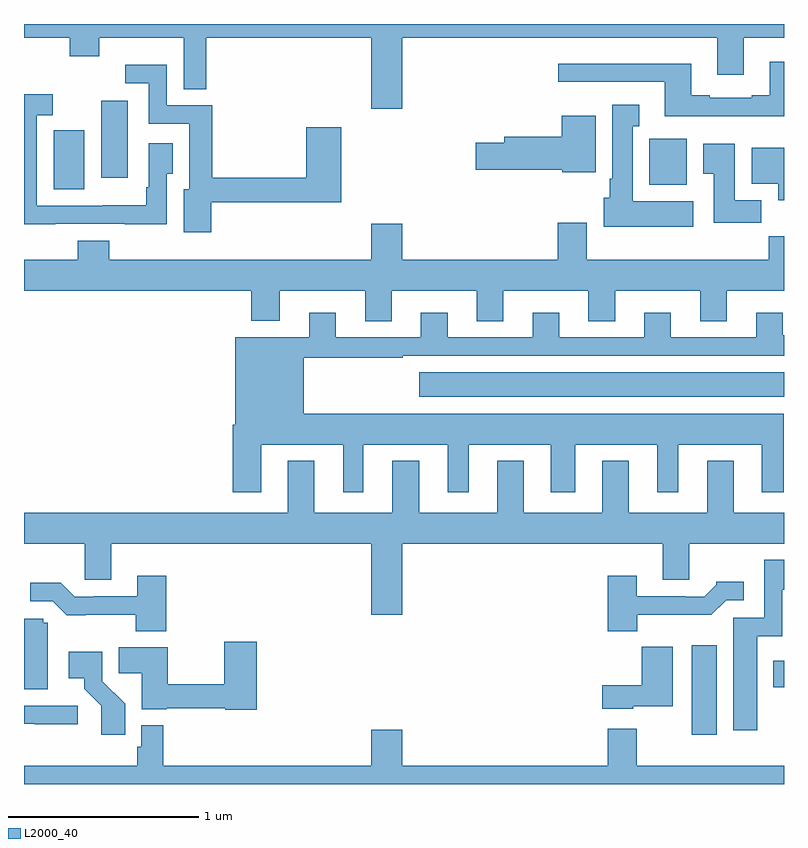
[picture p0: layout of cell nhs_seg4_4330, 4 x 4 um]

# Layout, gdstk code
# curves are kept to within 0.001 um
import gdstk
lib = gdstk.Library(unit=1e-6, precision=1e-09)
def R(c, l, rs):  # rectangles x0, y0, x1, y1
    for r in rs: c.add(gdstk.rectangle(r[:2], r[2:], *l))
def P(c, l, *ps):  # polygons
    for p in ps: c.add(gdstk.Polygon(p, *l))
L2000_40 = (2000, 40)

nhs_seg4_4330 = lib.new_cell('nhs_seg4_4330')
R(nhs_seg4_4330, L2000_40, [(346.514,785.16,346.645,785.629), (346.943,785.408,347,785.548), (345.081,786.938,347,787.066), (343.157,788.029,343.318,788.34), (346.292,788.054,346.489,788.296), (343.406,788.091,343.546,788.497)])
P(nhs_seg4_4330, L2000_40, [(344.992,788.828),(346.649,788.828),(346.649,788.634),(346.789,788.634),(346.789,788.828),(347,788.828),(347,788.9),(343,788.9),(343,788.828),(343.24,788.828),(343.24,788.729),(343.395,788.729),(343.395,788.828),(343.841,788.828),(343.841,788.557),(343.96,788.557),(343.96,788.828),(344.828,788.828),(344.828,788.454),(344.992,788.454)],
  [(347,788.701),(346.925,788.701),(346.925,788.524),(346.829,788.524),(346.829,788.511),(346.609,788.511),(346.609,788.524),(346.513,788.524),(346.513,788.692),(345.813,788.692),(345.813,788.595),(346.373,788.595),(346.373,788.414),(347,788.414)],
  [(343.985,787.962),(344.669,787.962),(344.669,788.356),(344.486,788.356),(344.486,788.09),(343.99,788.09),(343.99,788.472),(343.752,788.472),(343.752,788.686),(343.533,788.686),(343.533,788.589),(343.656,788.589),(343.656,788.376),(343.871,788.376),(343.871,788.031),(343.841,788.031),(343.841,787.803),(343.985,787.803)],
  [(343.165,787.848),(343.531,787.848),(343.531,787.847),(343.752,787.847),(343.752,788.113),(343.783,788.113),(343.783,788.272),(343.656,788.272),(343.656,788.041),(343.644,788.041),(343.644,787.945),(343.414,787.945),(343.414,787.944),(343.068,787.944),(343.068,788.421),(343.15,788.421),(343.15,788.53),(343,788.53),(343,787.847),(343.165,787.847)],
  [(346.522,787.966),(346.204,787.966),(346.204,788.363),(346.237,788.363),(346.237,788.476),(346.097,788.476),(346.097,788.086),(346.082,788.086),(346.082,787.986),(346.052,787.986),(346.052,787.832),(346.522,787.832)],
  [(346.009,788.416),(345.83,788.416),(345.83,788.306),(345.527,788.306),(345.527,788.276),(345.378,788.276),(345.378,788.134),(345.834,788.134),(345.834,788.12),(346.009,788.12)],
  [(346.88,787.972),(346.741,787.972),(346.741,788.269),(346.574,788.269),(346.574,788.113),(346.631,788.113),(346.631,787.854),(346.88,787.854)],
  [(347,788.248),(346.829,788.248),(346.829,788.06),(346.97,788.06),(346.97,787.973),(347,787.973)],
  [(344.935,787.496),(345.383,787.496),(345.383,787.336),(345.523,787.336),(345.523,787.496),(345.971,787.496),(345.971,787.336),(346.111,787.336),(346.111,787.496),(346.559,787.496),(346.559,787.336),(346.699,787.336),(346.699,787.496),(347,787.496),(347,787.784),(346.921,787.784),(346.921,787.66),(345.961,787.66),(345.961,787.855),(345.809,787.855),(345.809,787.66),(344.992,787.66),(344.992,787.849),(344.828,787.849),(344.828,787.66),(343.448,787.66),(343.448,787.759),(343.283,787.759),(343.283,787.66),(343,787.66),(343,787.496),(344.195,787.496),(344.195,787.337),(344.347,787.337),(344.347,787.496),(344.795,787.496),(344.795,787.336),(344.935,787.336)],
  [(344.248,786.686),(344.681,786.686),(344.681,786.435),(344.785,786.435),(344.785,786.686),(345.23,786.686),(345.23,786.435),(345.34,786.435),(345.34,786.686),(345.773,786.686),(345.773,786.435),(345.901,786.435),(345.901,786.686),(346.334,786.686),(346.334,786.435),(346.444,786.435),(346.444,786.686),(346.883,786.686),(346.883,786.435),(346.999,786.435),(346.999,786.85),(344.473,786.85),(344.473,787.143),(344.993,787.143),(344.993,787.155),(347,787.155),(347,787.263),(346.993,787.263),(346.993,787.381),(346.853,787.381),(346.853,787.251),(346.405,787.251),(346.405,787.381),(346.265,787.381),(346.265,787.251),(345.817,787.251),(345.817,787.381),(345.677,787.381),(345.677,787.251),(345.229,787.251),(345.229,787.381),(345.089,787.381),(345.089,787.251),(344.641,787.251),(344.641,787.381),(344.501,787.381),(344.501,787.252),(344.111,787.252),(344.111,786.79),(344.099,786.79),(344.099,786.435),(344.248,786.435)],
  [(346.595,786.601),(346.595,786.328),(346.183,786.328),(346.183,786.601),(346.043,786.601),(346.043,786.328),(345.631,786.328),(345.631,786.601),(345.491,786.601),(345.491,786.328),(345.079,786.328),(345.079,786.601),(344.939,786.601),(344.939,786.328),(344.527,786.328),(344.527,786.601),(344.387,786.601),(344.387,786.328),(343,786.328),(343,786.164),(343.32,786.164),(343.32,785.974),(343.459,785.974),(343.459,786.164),(344.828,786.164),(344.828,785.79),(344.992,785.79),(344.992,786.164),(346.361,786.164),(346.361,785.974),(346.501,785.974),(346.501,786.164),(347,786.164),(347,786.328),(346.735,786.328),(346.735,786.601)],
  [(346.858,785.678),(346.992,785.678),(346.992,785.923),(347,785.923),(347,786.079),(346.896,786.079),(346.896,785.775),(346.733,785.775),(346.733,785.184),(346.858,785.184)],
  [(343.748,785.995),(343.595,785.995),(343.595,785.889),(343.366,785.889),(343.366,785.886),(343.266,785.886),(343.193,785.959),(343.032,785.959),(343.032,785.862),(343.152,785.862),(343.225,785.789),(343.588,785.79),(343.588,785.705),(343.748,785.705)],
  [(346.228,785.79),(346.617,785.79),(346.695,785.868),(346.789,785.868),(346.789,785.965),(346.644,785.965),(346.644,785.95),(346.58,785.886),(346.481,785.886),(346.481,785.889),(346.225,785.889),(346.225,785.995),(346.073,785.995),(346.073,785.705),(346.228,785.705)],
  [(343.126,785.748),(343.101,785.748),(343.101,785.769),(343,785.769),(343,785.4),(343.126,785.4)],
  [(344.225,785.65),(344.054,785.65),(344.054,785.426),(343.756,785.426),(343.756,785.62),(343.498,785.62),(343.498,785.482),(343.619,785.482),(343.619,785.294),(343.752,785.294),(343.752,785.298),(344.058,785.298),(344.058,785.29),(344.225,785.29)],
  [(346.206,785.309),(346.414,785.309),(346.414,785.623),(346.252,785.623),(346.252,785.419),(346.044,785.419),(346.044,785.297),(346.206,785.297)],
  [(343.532,785.322),(343.413,785.441),(343.413,785.596),(343.236,785.596),(343.236,785.456),(343.316,785.456),(343.316,785.401),(343.407,785.311),(343.407,785.16),(343.532,785.16)],
  [(343.282,785.313),(343,785.313),(343,785.217),(343.057,785.217),(343.057,785.215),(343.282,785.215)],
  [(347,784.996),(346.225,784.996),(346.225,785.191),(346.073,785.191),(346.073,784.996),(344.992,784.996),(344.992,785.185),(344.828,785.185),(344.828,784.996),(343.733,784.996),(343.733,785.209),(343.617,785.209),(343.617,785.097),(343.597,785.097),(343.597,784.996),(343,784.996),(343,784.9),(347,784.9)])

lib.write_gds('nhs_seg4_4330.gds')
